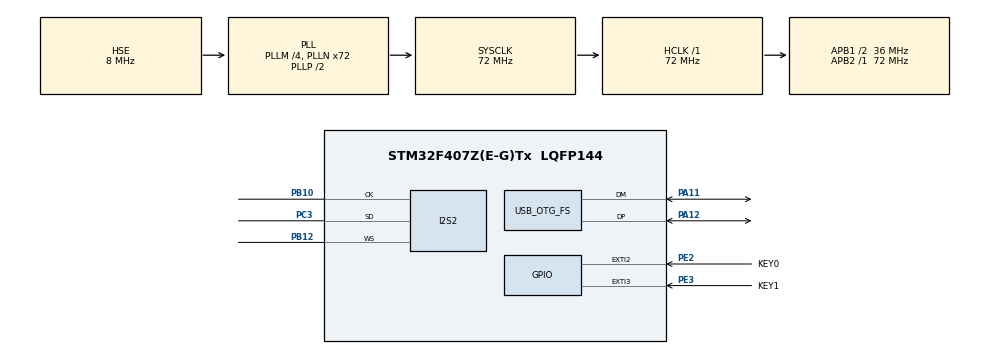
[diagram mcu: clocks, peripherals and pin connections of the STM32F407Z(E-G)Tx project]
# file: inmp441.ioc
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Dma.Request0=SPI2_RX
Dma.SPI2_RX.0.Direction=DMA_PERIPH_TO_MEMORY
Dma.SPI2_RX.0.FIFOMode=DMA_FIFOMODE_DISABLE
Dma.SPI2_RX.0.Instance=DMA1_Stream3
Dma.SPI2_RX.0.MemDataAlignment=DMA_MDATAALIGN_WORD
Dma.SPI2_RX.0.MemInc=DMA_MINC_ENABLE
Dma.SPI2_RX.0.Mode=DMA_CIRCULAR
Dma.SPI2_RX.0.PeriphDataAlignment=DMA_PDATAALIGN_WORD
Dma.SPI2_RX.0.PeriphInc=DMA_PINC_DISABLE
Dma.SPI2_RX.0.Priority=DMA_PRIORITY_LOW
I2S2.AudioFreq=I2S_AUDIOFREQ_44K
I2S2.DataFormat=I2S_DATAFORMAT_24B
I2S2.ErrorAudioFreq=-1.35 %
I2S2.FullDuplexMode=I2S_FULLDUPLEXMODE_DISABLE
I2S2.Instance=SPI$Index
I2S2.Mode=I2S_MODE_MASTER_RX
I2S2.RealAudioFreq=43.402 KHz
I2S2.VirtualMode=I2S_MODE_MASTER
Mcu.Family=STM32F4
Mcu.Name=STM32F407Z(E-G)Tx
Mcu.Package=LQFP144
NVIC.DMA1_Stream3_IRQn=true\:0\:0\:false\:false\:true\:false\:true\:true
NVIC.EXTI2_IRQn=true\:0\:0\:false\:false\:true\:true\:true\:true
NVIC.EXTI3_IRQn=true\:0\:0\:false\:false\:true\:true\:true\:true
NVIC.OTG_FS_IRQn=true\:0\:0\:false\:false\:true\:false\:true\:true
NVIC.PriorityGroup=NVIC_PRIORITYGROUP_4
PA11.Mode=Device_Only
PA11.Signal=USB_OTG_FS_DM
PA12.Mode=Device_Only
PA12.Signal=USB_OTG_FS_DP
PA13.Mode=Serial_Wire
PA13.Signal=SYS_JTMS-SWDIO
PA14.Mode=Serial_Wire
PA14.Signal=SYS_JTCK-SWCLK
PB10.Mode=Half_Duplex_Master
PB10.Signal=I2S2_CK
PB12.Mode=Half_Duplex_Master
PB12.Signal=I2S2_WS
PC3.Mode=Half_Duplex_Master
PC3.Signal=I2S2_SD
PE2.GPIO_Label=KEY0
PE2.Signal=GPXTI2
PE3.GPIO_Label=KEY1
PE3.Signal=GPXTI3
PH0-OSC_IN.Mode=HSE-External-Oscillator
PH0-OSC_IN.Signal=RCC_OSC_IN
PH1-OSC_OUT.Mode=HSE-External-Oscillator
PH1-OSC_OUT.Signal=RCC_OSC_OUT
ProjectManager.HeapSize=0x200
ProjectManager.StackSize=0x400
ProjectManager.TargetToolchain=STM32CubeIDE
RCC.48MHZClocksFreq_Value=48000000
RCC.AHBFreq_Value=72000000
RCC.APB1CLKDivider=RCC_HCLK_DIV2
RCC.APB1Freq_Value=36000000
RCC.APB1TimFreq_Value=72000000
RCC.APB2Freq_Value=72000000
RCC.APB2TimFreq_Value=72000000
RCC.CortexFreq_Value=72000000
RCC.HCLKFreq_Value=72000000
RCC.HSE_VALUE=8000000
RCC.HSI_VALUE=16000000
RCC.LSE_VALUE=32768
RCC.PLLI2SN=50
RCC.PLLM=4
RCC.PLLN=72
RCC.PLLQ=3
RCC.SYSCLKFreq_VALUE=72000000
RCC.SYSCLKSource=RCC_SYSCLKSOURCE_PLLCLK
RCC.VCOOutputFreq_Value=144000000
USB_DEVICE.APP_RX_DATA_SIZE-CDC_FS=512
USB_DEVICE.APP_TX_DATA_SIZE-CDC_FS=512
USB_DEVICE.CLASS_NAME_FS=CDC
USB_DEVICE.VirtualMode-CDC_FS=Cdc
USB_DEVICE.VirtualModeFS=Cdc_FS
USB_OTG_FS.VirtualMode=Device_Only
VP_USB_DEVICE_VS_USB_DEVICE_CDC_FS.Mode=CDC_FS
board=custom

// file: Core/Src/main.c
/* USER CODE BEGIN Header */
/**
  ******************************************************************************
  * @file           : main.c
  * @brief          : Main program body
  ******************************************************************************
  * @attention
  *
  * Copyright (c) 2024 STMicroelectronics.
  * All rights reserved.
  *
  * This software is licensed under terms that can be found in the LICENSE file
  * in the root directory of this software component.
  * If no LICENSE file comes with this software, it is provided AS-IS.
  *
  ******************************************************************************
  */
/* USER CODE END Header */
#include "main.h"
#include "dma.h"
#include "i2s.h"
#include "usb_device.h"
#include "gpio.h"

/* USER CODE BEGIN Includes */
#include "usbd_cdc_if.h"
/* USER CODE END Includes */

/* USER CODE BEGIN PV */
uint32_t audio_frame[1024];
int16_t audio_raw[512*100];
uint32_t sample_count = 0;
uint8_t recv_ready = 0;
uint8_t state_key = 0;
uint8_t start = 0;
/* USER CODE END PV */

void SystemClock_Config(void);

int main(void)
{

  /* MCU Configuration--------------------------------------------------------*/

  /* Reset of all peripherals, Initializes the Flash interface and the Systick. */
  HAL_Init();

  /* Configure the system clock */
  SystemClock_Config();

  /* Initialize all configured peripherals */
  MX_GPIO_Init();
  MX_DMA_Init();
  MX_I2S2_Init();
  MX_USB_DEVICE_Init();

  /* Infinite loop */
  /* USER CODE BEGIN WHILE */
  while (1)
  {
    if (start)
    {
      recv_ready = 0;
      HAL_I2S_Receive_DMA(&hi2s2, (uint16_t *)audio_frame, sizeof(audio_frame)/sizeof(uint32_t));
      while(recv_ready == 0);
      for(uint16_t i=0 ; i<sizeof(audio_frame)/sizeof(uint32_t)/4 ; i++)
      {
        audio_raw[i+sample_count] = *(((int16_t*)audio_frame)+(i*8));
      }
      sample_count += sizeof(audio_frame)/sizeof(uint32_t)/4;
      if(sample_count*sizeof(int16_t) >= sizeof(audio_raw))
      {
        uint32_t remaining_size = sample_count*sizeof(int16_t);
        while(remaining_size > 0)
        {
          CDC_Transmit_FS(((uint8_t*)audio_raw)+(sample_count*4-remaining_size), 512);
          remaining_size -= 512;
    	  }
        start = 0;
      }
    }

    /* USER CODE END WHILE */

  }
}

void SystemClock_Config(void)
{
  RCC_OscInitTypeDef RCC_OscInitStruct = {0};
  RCC_ClkInitTypeDef RCC_ClkInitStruct = {0};

  /** Configure the main internal regulator output voltage
  */
  __HAL_RCC_PWR_CLK_ENABLE();
  __HAL_PWR_VOLTAGESCALING_CONFIG(PWR_REGULATOR_VOLTAGE_SCALE1);

  /** Initializes the RCC Oscillators according to the specified parameters
  * in the RCC_OscInitTypeDef structure.
  */
  RCC_OscInitStruct.OscillatorType = RCC_OSCILLATORTYPE_HSE;
  RCC_OscInitStruct.HSEState = RCC_HSE_ON;
  RCC_OscInitStruct.PLL.PLLState = RCC_PLL_ON;
  RCC_OscInitStruct.PLL.PLLSource = RCC_PLLSOURCE_HSE;
  RCC_OscInitStruct.PLL.PLLM = 4;
  RCC_OscInitStruct.PLL.PLLN = 72;
  RCC_OscInitStruct.PLL.PLLP = RCC_PLLP_DIV2;
  RCC_OscInitStruct.PLL.PLLQ = 3;
  if (HAL_RCC_OscConfig(&RCC_OscInitStruct) != HAL_OK)
  {
    Error_Handler();
  }

  /** Initializes the CPU, AHB and APB buses clocks
  */
  RCC_ClkInitStruct.ClockType = RCC_CLOCKTYPE_HCLK|RCC_CLOCKTYPE_SYSCLK
                              |RCC_CLOCKTYPE_PCLK1|RCC_CLOCKTYPE_PCLK2;
  RCC_ClkInitStruct.SYSCLKSource = RCC_SYSCLKSOURCE_PLLCLK;
  RCC_ClkInitStruct.AHBCLKDivider = RCC_SYSCLK_DIV1;
  RCC_ClkInitStruct.APB1CLKDivider = RCC_HCLK_DIV2;
  RCC_ClkInitStruct.APB2CLKDivider = RCC_HCLK_DIV1;

  if (HAL_RCC_ClockConfig(&RCC_ClkInitStruct, FLASH_LATENCY_2) != HAL_OK)
  {
    Error_Handler();
  }
}

/* USER CODE BEGIN 4 */
void HAL_I2S_RxCpltCallback(I2S_HandleTypeDef *hi2s)
{
  recv_ready = 1;
}
void HAL_GPIO_EXTI_Callback(uint16_t GPIO_Pin)
{
    if(GPIO_Pin==KEY0_Pin)
    {
        if(KEY0_GPIO_Port->IDR & KEY0_Pin)
        	start = 1;
        else
          start = 0;
    }
}
/* USER CODE END 4 */

void Error_Handler(void)
{
  __disable_irq();
  while (1)
  {
  }
}
